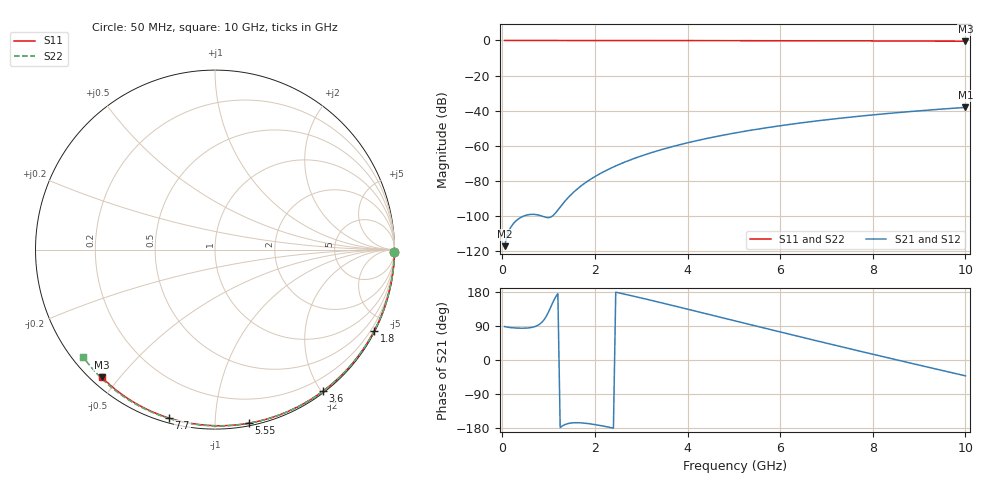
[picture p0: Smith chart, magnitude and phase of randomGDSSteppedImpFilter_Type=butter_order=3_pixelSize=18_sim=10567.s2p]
! freq	dB(S11)	phase(S11)	dB(S12)	phase(S12)
!  dB(S21)	phase(S21)	dB(S22)	phase(S22)
!S-par simulation data
#  GHz  S  DB  R 50
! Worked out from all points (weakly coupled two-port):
!   200 points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, 50 MHz to 10 GHz, reference 50 ohm
!   highest |S21| = -38.08 dB at 10 GHz (marker M1); lowest = -117.0 dB at 50 MHz (marker M2)
!   lowest |S11| = -0.4 dB at 10 GHz (marker M3), VSWR 39.27, Z = 1.53 - j22.4 ohm
!   |S11| at or under -10 dB: nowhere
!   |S22| runs from -0.5 to 0.0 dB; largest |S21 - S12| = 0
!   S11 on the Smith chart (normalised r, x): 50 MHz: open; 1.8 GHz: 0.04, -4.17; 3.6 GHz: 0.02, -2.02; 5.55 GHz: 0.02, -1.22; 7.7 GHz: 0.02, -0.76; 10 GHz: 0.03, -0.45
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0.05  -0.00 -0.8  -117.02 88.2  -117.02 88.2  -0.00 -0.8
0.45  -0.01 -6.8  -100.02 83.9  -100.02 83.9  -0.01 -7.3
0.9  -0.02 -13.6  -100.31 105.9  -100.31 105.9  -0.02 -14.6
1.75  -0.03 -26.3  -81.77 -166.4  -81.77 -166.4  -0.04 -28.1
1.8  -0.03 -27.0  -80.82 -167.0  -80.82 -167.0  -0.04 -28.9
1.85  -0.04 -27.7  -79.93 -167.7  -79.93 -167.7  -0.04 -29.7
2  -0.04 -29.9  -77.44 -170.4  -77.44 -170.4  -0.04 -32.0
2.15  -0.04 -32.1  -75.21 -173.7  -75.21 -173.7  -0.04 -34.4
2.35  -0.04 -35.0  -72.56 -178.5  -72.56 -178.5  -0.05 -37.5
2.55  -0.05 -37.9  -70.21 176.3  -70.21 176.3  -0.05 -40.6
2.95  -0.06 -43.6  -66.17 165.1  -66.17 165.1  -0.06 -46.7
3.4  -0.07 -50.0  -62.38 152.0  -62.38 152.0  -0.07 -53.5
3.6  -0.07 -52.8  -60.90 146.1  -60.90 146.1  -0.08 -56.4
4.3  -0.09 -62.4  -56.40 125.1  -56.40 125.1  -0.09 -66.6
5.05  -0.11 -72.4  -52.50 102.5  -52.50 102.5  -0.12 -77.2
5.55  -0.13 -78.8  -50.29 87.5  -50.29 87.5  -0.14 -84.1
6.1  -0.15 -85.8  -48.14 71.0  -48.14 71.0  -0.16 -91.5
6.7  -0.18 -93.2  -46.06 53.2  -46.06 53.2  -0.19 -99.4
7.7  -0.24 -105.3  -43.12 23.9  -43.12 23.9  -0.26 -112.2
8.35  -0.29 -112.9  -41.48 5.1  -41.48 5.1  -0.31 -120.4
9.2  -0.36 -122.6  -39.61 -19.1  -39.61 -19.1  -0.38 -130.9
10  -0.44 -131.7  -38.08 -41.8  -38.08 -41.8  -0.47 -140.7
